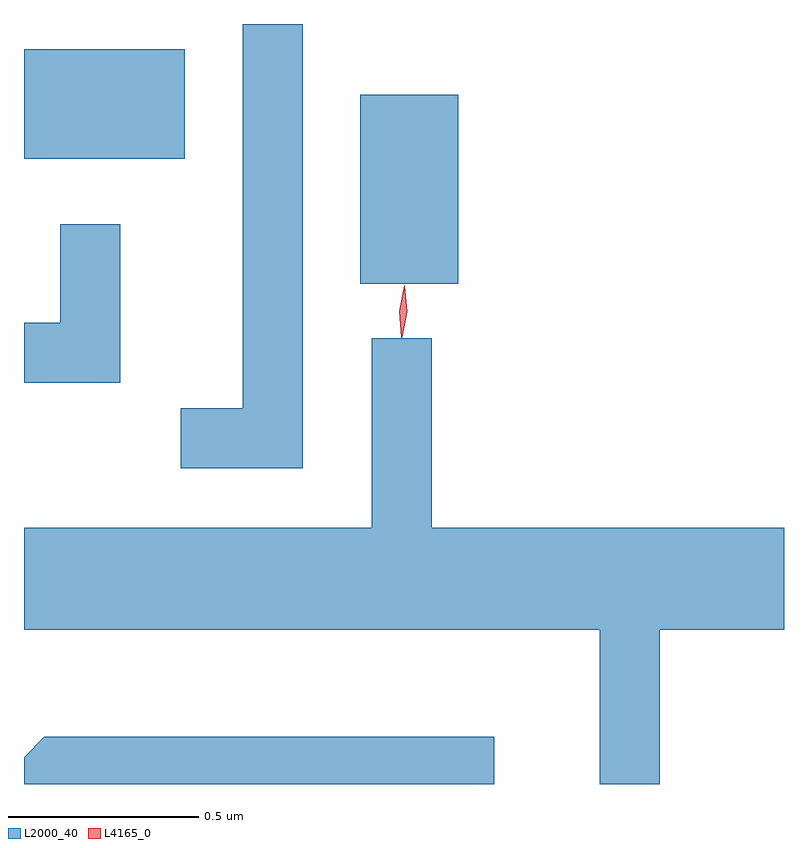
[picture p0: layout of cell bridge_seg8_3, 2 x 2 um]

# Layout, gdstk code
import gdstk
lib = gdstk.Library(unit=1e-6, precision=1e-09)
def R(c, l, rs):  # rectangles x0, y0, x1, y1
    for r in rs: c.add(gdstk.rectangle(r[:2], r[2:], *l))
def P(c, l, *ps):  # polygons
    for p in ps: c.add(gdstk.Polygon(p, *l))
L2000_40 = (2000, 40)
L4165_0 = (4165, 0)

bridge_seg8_3 = lib.new_cell('bridge_seg8_3')
R(bridge_seg8_3, L2000_40, [(1667.496,1879.506,1667.754,1880.004), (1666.611,1879.836,1667.034,1880.124)])
P(bridge_seg8_3, L2000_40, [(1667.344,1880.19),(1667.186,1880.19),(1667.186,1879.179),(1667.023,1879.179),(1667.023,1879.021),(1667.344,1879.021)],
  [(1666.864,1879.663),(1666.706,1879.663),(1666.706,1879.404),(1666.611,1879.404),(1666.611,1879.246),(1666.864,1879.246)],
  [(1668.284,1878.596),(1668.611,1878.596),(1668.611,1878.864),(1667.684,1878.864),(1667.684,1879.363),(1667.526,1879.363),(1667.526,1878.864),(1666.611,1878.864),(1666.611,1878.596),(1668.126,1878.596),(1668.126,1878.19),(1668.284,1878.19)],
  [(1667.849,1878.314),(1666.664,1878.314),(1666.611,1878.261),(1666.611,1878.19),(1667.849,1878.19)])
P(bridge_seg8_3, L4165_0, [(1667.605,1879.365),(1667.604,1879.366),(1667.599,1879.434),(1667.612,1879.501),(1667.613,1879.502),(1667.613,1879.501),(1667.619,1879.433),(1667.606,1879.366)],
  [(1667.605,1879.368),(1667.604,1879.369),(1667.598,1879.434),(1667.611,1879.499),(1667.611,1879.5),(1667.612,1879.499),(1667.618,1879.433),(1667.606,1879.369)])

lib.write_gds('bridge_seg8_3.gds')
